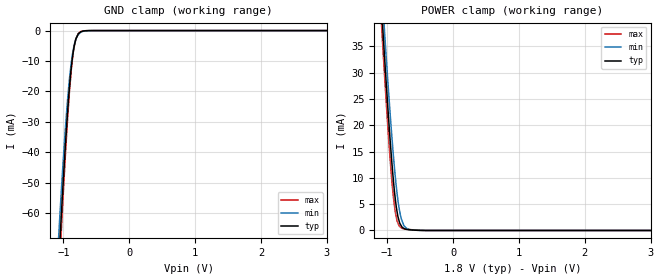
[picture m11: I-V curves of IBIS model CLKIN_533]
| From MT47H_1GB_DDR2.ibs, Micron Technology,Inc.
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|   MODEL CLKIN_533  (Clock Input Model for 400/533 Mbps)
[Model]   CLKIN_533
Model_type   Input
Vinl = 650.000mV
Vinh = 1.150V
|   typ   min   max
C_comp   1.189pF   1.089pF   1.289pF
[Model Spec]
| Input threshold voltage corners
Vinl   0.650V   0.600V   0.700V
Vinh   1.150V   1.100V   1.200V
| [Receiver Thresholds]
|NOTE: Differential receiver threshold keywords are commented out because current
|IBISCHK parser (IBISCHK 4.1) generates error for multiple differential models.
|| [Receiver Thresholds]
|Vcross_low   = 0.675V
|Vcross_high  = 1.125V
|Vdiff_ac   = 500mV
|Vdiff_dc   = 250mV
|Tdiffslew_ac = 5.000ns |Not specified, so set to high value
[Voltage Range]   1.800V   1.700V   1.900V
[Pullup Reference]   1.800V   1.700V   1.900V
| Junction Temperature (Ambient temp is 25C typ, 85C min, 0C max)
[Temperature Range]   40.0   100.0   0.0
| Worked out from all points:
|   GND clamp passes 1 mA (typ) near -0.77 V on its own axis
|   POWER clamp passes 1 mA (typ) near -0.79 V on its own axis
[GND Clamp]
|   Voltage   I(typ)   I(min)   I(max)
-1.8V     -426.6mA   -401.2mA   -447.8mA
-1.075V   -77.9mA    -68.66mA   -84.3mA
-1.065V   -73.76mA   -64.82mA   -79.89mA
-1.045V   -65.67mA   -57.35mA   -71.23mA
-1.035V   -61.64mA   -53.71mA   -66.97mA
-955mV    -32.38mA   -27.62mA   -35.31mA
-920mV    -21.67mA   -18.5mA    -23.55mA
-880mV    -11.96mA   -10.39mA   -12.68mA
-850mV    -6.846mA   -6.152mA   -6.922mA
-815mV    -3.124mA   -3.09mA    -2.931mA
-740mV    -444.6uA   -598.1uA   -374.5uA
3.6V      0A         0A         0A
[POWER Clamp]
|   Voltage   I(typ)   I(min)   I(max)
-1.8V     204mA      203.5mA    205.6mA
-1.085V   42.06mA    46.6mA     38.8mA
-1.065V   37.95mA    42.62mA    34.58mA
-1.04V    32.94mA    37.73mA    29.43mA
-965mV    18.82mA    23.86mA    15.16mA
-910mV    10.08mA    14.83mA    6.839mA
-880mV    6.314mA    10.6mA     3.697mA
-840mV    2.832mA    6.01mA     1.507mA
-775mV    634.3uA    1.866mA    410.1uA
-705mV    212.9uA    392uA      230.7uA
-550mV    41.96uA    35.22uA    71.94uA
3.6V      0A         0A         0A
